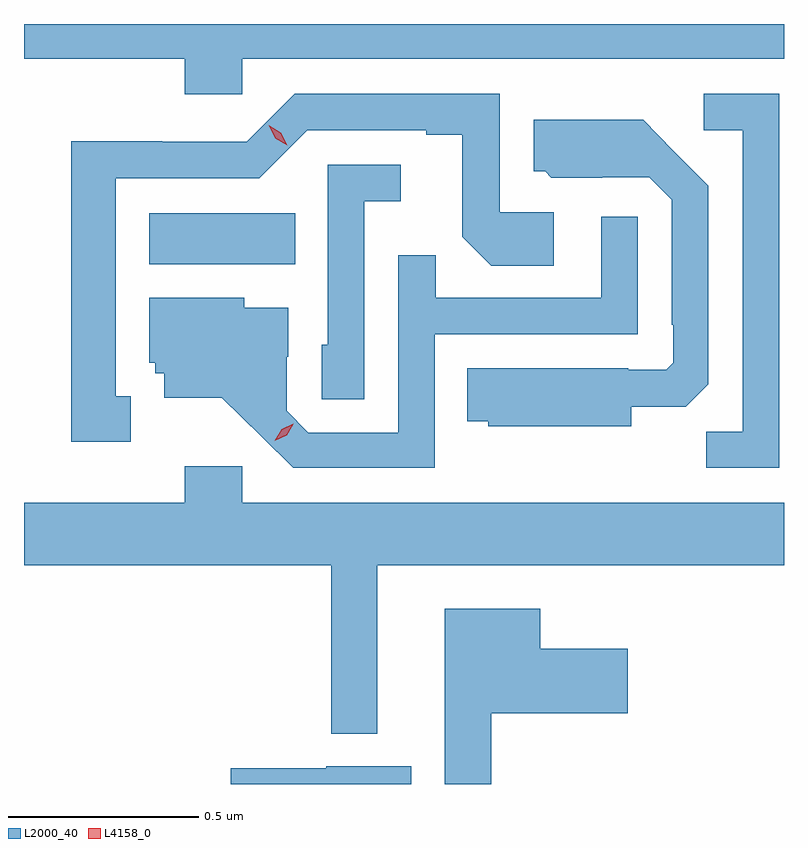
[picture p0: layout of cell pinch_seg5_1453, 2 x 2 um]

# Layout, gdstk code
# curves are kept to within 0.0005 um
import gdstk
lib = gdstk.Library(unit=1e-6, precision=1e-09)
def R(c, l, rs):  # rectangles x0, y0, x1, y1
    for r in rs: c.add(gdstk.rectangle(r[:2], r[2:], *l))
def P(c, l, *ps):  # polygons
    for p in ps: c.add(gdstk.Polygon(p, *l))
L2000_40 = (2000, 40)
L4158_0 = (4158, 0)

pinch_seg5_1453 = lib.new_cell('pinch_seg5_1453')
R(pinch_seg5_1453, L2000_40, [(160.682,906.836,161.066,906.97)])
P(pinch_seg5_1453, L2000_40, [(160.926,907.376),(162.352,907.376),(162.352,907.468),(160.352,907.468),(160.352,907.376),(160.775,907.376),(160.775,907.283),(160.926,907.283)],
  [(162.339,907.284),(162.141,907.284),(162.141,907.188),(162.243,907.188),(162.243,906.395),(162.148,906.395),(162.148,906.3),(162.339,906.3)],
  [(160.633,906.489),(160.594,906.489),(160.594,907.062),(160.971,907.062),(161.097,907.188),(161.411,907.188),(161.411,907.176),(161.505,907.176),(161.505,906.908),(161.581,906.832),(161.746,906.832),(161.746,906.972),(161.604,906.972),(161.604,907.284),(161.064,907.284),(160.938,907.158),(160.716,907.158),(160.716,907.16),(160.476,907.16),(160.476,906.369),(160.633,906.369)],
  [(161.95,906.461),(162.094,906.461),(162.153,906.52),(162.153,907.042),(161.981,907.216),(161.693,907.216),(161.693,907.08),(161.724,907.08),(161.74,907.064),(161.874,907.064),(161.874,907.065),(161.997,907.065),(162.057,907.005),(162.057,906.676),(162.06,906.676),(162.06,906.576),(162.042,906.558),(161.942,906.558),(161.942,906.562),(161.518,906.562),(161.518,906.422),(161.574,906.422),(161.574,906.41),(161.95,906.41)],
  [(161.247,907.001),(161.344,907.001),(161.344,907.098),(161.151,907.098),(161.151,906.624),(161.136,906.624),(161.136,906.481),(161.247,906.481)],
  [(161.433,906.651),(161.967,906.651),(161.967,906.961),(161.871,906.961),(161.871,906.747),(161.435,906.747),(161.435,906.86),(161.337,906.86),(161.337,906.393),(161.1,906.393),(161.043,906.45),(161.043,906.592),(161.047,906.592),(161.047,906.721),(160.932,906.721),(160.932,906.748),(160.682,906.748),(160.682,906.576),(160.698,906.576),(160.698,906.549),(160.721,906.549),(160.721,906.485),(160.873,906.485),(161.06,906.3),(161.433,906.3)],
  [(161.281,906.044),(162.352,906.044),(162.352,906.208),(160.926,906.208),(160.926,906.304),(160.775,906.304),(160.775,906.208),(160.352,906.208),(160.352,906.044),(161.16,906.044),(161.16,905.6),(161.281,905.6)],
  [(161.581,905.654),(161.941,905.654),(161.941,905.824),(161.71,905.824),(161.71,905.929),(161.459,905.929),(161.459,905.468),(161.581,905.468)],
  [(161.371,905.515),(161.148,905.515),(161.148,905.51),(160.896,905.51),(160.896,905.468),(161.371,905.468)])
P(pinch_seg5_1453, L4158_0, [(161.012,906.371),(161.012,906.371),(161.03,906.401),(161.061,906.416),(161.061,906.416),(161.061,906.415),(161.043,906.386),(161.012,906.371)],
  [(161.045,907.149),(161.013,907.168),(160.996,907.201),(160.996,907.201),(160.996,907.201),(161.027,907.182),(161.045,907.149),(161.045,907.149)])

lib.write_gds('pinch_seg5_1453.gds')
